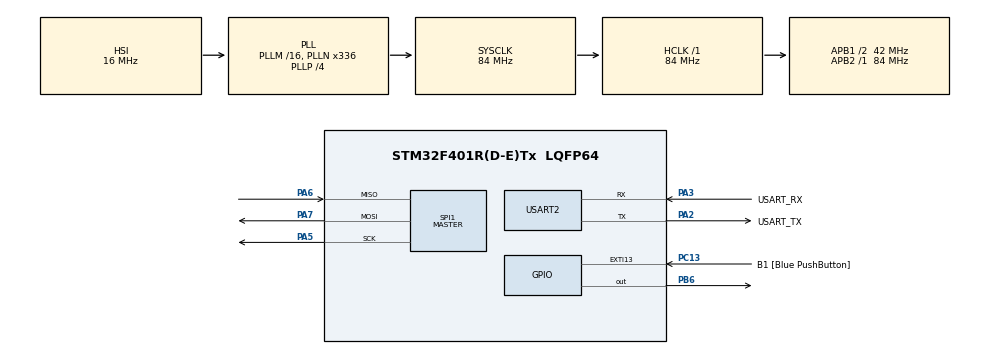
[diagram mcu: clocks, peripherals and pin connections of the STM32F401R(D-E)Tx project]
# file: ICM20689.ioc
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Mcu.Family=STM32F4
Mcu.Name=STM32F401R(D-E)Tx
Mcu.Package=LQFP64
NVIC.PriorityGroup=NVIC_PRIORITYGROUP_0
PA13.GPIO_Label=TMS
PA13.Mode=Serial_Wire
PA13.Signal=SYS_JTMS-SWDIO
PA14.GPIO_Label=TCK
PA14.Mode=Serial_Wire
PA14.Signal=SYS_JTCK-SWCLK
PA2.GPIO_Label=USART_TX
PA2.GPIO_Mode=GPIO_MODE_AF_PP
PA2.GPIO_PuPd=GPIO_NOPULL
PA2.GPIO_Speed=GPIO_SPEED_FREQ_LOW
PA2.Mode=Asynchronous
PA2.Signal=USART2_TX
PA3.GPIO_Label=USART_RX
PA3.GPIO_Mode=GPIO_MODE_AF_PP
PA3.GPIO_PuPd=GPIO_NOPULL
PA3.GPIO_Speed=GPIO_SPEED_FREQ_LOW
PA3.Mode=Asynchronous
PA3.Signal=USART2_RX
PA5.Mode=Full_Duplex_Master
PA5.Signal=SPI1_SCK
PA6.Mode=Full_Duplex_Master
PA6.Signal=SPI1_MISO
PA7.Mode=Full_Duplex_Master
PA7.Signal=SPI1_MOSI
PB3.GPIO_Label=SWO
PB3.Signal=SYS_JTDO-SWO
PB6.Signal=GPIO_Output
PC13-ANTI_TAMP.GPIO_Label=B1 [Blue PushButton]
PC13-ANTI_TAMP.GPIO_ModeDefaultEXTI=GPIO_MODE_IT_FALLING
PC13-ANTI_TAMP.GPIO_PuPd=GPIO_NOPULL
PC13-ANTI_TAMP.Signal=GPXTI13
PC14-OSC32_IN.Mode=LSE-External-Oscillator
PC14-OSC32_IN.Signal=RCC_OSC32_IN
PC15-OSC32_OUT.Mode=LSE-External-Oscillator
PC15-OSC32_OUT.Signal=RCC_OSC32_OUT
PH0\ -\ OSC_IN.Mode=HSE-External-Clock-Source
PH0\ -\ OSC_IN.Signal=RCC_OSC_IN
PH1\ -\ OSC_OUT.Mode=HSE-External-Clock-Source
PH1\ -\ OSC_OUT.Signal=RCC_OSC_OUT
ProjectManager.HeapSize=0x200
ProjectManager.StackSize=0x400
ProjectManager.TargetToolchain=STM32CubeIDE
RCC.48MHZClocksFreq_Value=48000000
RCC.AHBFreq_Value=84000000
RCC.APB1CLKDivider=RCC_HCLK_DIV2
RCC.APB1Freq_Value=42000000
RCC.APB1TimFreq_Value=84000000
RCC.APB2Freq_Value=84000000
RCC.APB2TimFreq_Value=84000000
RCC.CortexFreq_Value=84000000
RCC.HCLKFreq_Value=84000000
RCC.HSE_VALUE=8000000
RCC.HSI_VALUE=16000000
RCC.PLLN=336
RCC.PLLP=RCC_PLLP_DIV4
RCC.PLLQ=7
RCC.SYSCLKFreq_VALUE=84000000
RCC.SYSCLKSource=RCC_SYSCLKSOURCE_PLLCLK
RCC.VCOOutputFreq_Value=336000000
SPI1.BaudRatePrescaler=SPI_BAUDRATEPRESCALER_32
SPI1.Direction=SPI_DIRECTION_2LINES
SPI1.Mode=SPI_MODE_MASTER
SPI1.VirtualType=VM_MASTER
USART2.VirtualMode=VM_ASYNC
board=NUCLEO-F401RE

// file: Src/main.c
/* USER CODE BEGIN Header */
/**
  ******************************************************************************
  * @file           : main.c
  * @brief          : Main program body
  ******************************************************************************
  * @attention
  *
  * <h2><center>&copy; Copyright (c) 2019 STMicroelectronics.
  * All rights reserved.</center></h2>
  *
  * This software component is licensed by ST under BSD 3-Clause license,
  * the "License"; You may not use this file except in compliance with the
  * License. You may obtain a copy of the License at:
  *                        opensource.org/licenses/BSD-3-Clause
  *
  ******************************************************************************
  */
/* USER CODE END Header */

#include "main.h"
#include "stdio.h"

SPI_HandleTypeDef hspi1;

UART_HandleTypeDef huart2;

/* USER CODE BEGIN PV */

#ifdef __GNUC__
#define PUTCHAR_PROTOTYPE int __io_putchar(int ch)
#else
#define PUTCHAR_PROTOTYPE int fputc(int ch, FILE *f)
#endif /* __GNUC__ */

void __io_putchar(uint8_t ch) {
HAL_UART_Transmit(&huart2, &ch, 1, 1);
}

typedef struct{
	float omega_x;
	float omega_y;
	float omega_z;
	float accel_x;
	float accel_y;
	float accel_z;
}GYRO_DATA;

GYRO_DATA gyro_raw;
GYRO_DATA gyro_true;
GYRO_DATA gyro_offset;
uint8_t set_flag;
uint16_t gyro_calib_cnt;
uint8_t gyro_calib_flag;

/* USER CODE END PV */

void SystemClock_Config(void);
static void MX_GPIO_Init(void);
static void MX_USART2_UART_Init(void);
static void MX_SPI1_Init(void);
/* USER CODE BEGIN PFP */
void ICM20689_Init();

/* USER CODE END PFP */

int main(void)
{
  /* USER CODE BEGIN 1 */
	setbuf(stdout, NULL);

  /* USER CODE END 1 */

  /* MCU Configuration--------------------------------------------------------*/

  /* Reset of all peripherals, Initializes the Flash interface and the Systick. */
  HAL_Init();

  /* Configure the system clock */
  SystemClock_Config();

  /* Initialize all configured peripherals */
  MX_GPIO_Init();
  MX_USART2_UART_Init();
  MX_SPI1_Init();
  /* USER CODE BEGIN 2 */
  ICM20689_Init();
  /* USER CODE END 2 */

  /* Infinite loop */
  /* USER CODE BEGIN WHILE */
  while (1)
  {
	  ICM20689_DataUpdate();
	   printf("omegax=%f,y:%f,z=%f\r\n",gyro_raw.omega_x,gyro_raw.omega_y, gyro_raw.omega_z);
	   HAL_Delay(300);
    /* USER CODE END WHILE */

  }
}

void SystemClock_Config(void)
{
  RCC_OscInitTypeDef RCC_OscInitStruct = {0};
  RCC_ClkInitTypeDef RCC_ClkInitStruct = {0};

  /** Configure the main internal regulator output voltage
  */
  __HAL_RCC_PWR_CLK_ENABLE();
  __HAL_PWR_VOLTAGESCALING_CONFIG(PWR_REGULATOR_VOLTAGE_SCALE2);
  /** Initializes the CPU, AHB and APB busses clocks
  */
  RCC_OscInitStruct.OscillatorType = RCC_OSCILLATORTYPE_HSI;
  RCC_OscInitStruct.HSIState = RCC_HSI_ON;
  RCC_OscInitStruct.HSICalibrationValue = RCC_HSICALIBRATION_DEFAULT;
  RCC_OscInitStruct.PLL.PLLState = RCC_PLL_ON;
  RCC_OscInitStruct.PLL.PLLSource = RCC_PLLSOURCE_HSI;
  RCC_OscInitStruct.PLL.PLLM = 16;
  RCC_OscInitStruct.PLL.PLLN = 336;
  RCC_OscInitStruct.PLL.PLLP = RCC_PLLP_DIV4;
  RCC_OscInitStruct.PLL.PLLQ = 7;
  if (HAL_RCC_OscConfig(&RCC_OscInitStruct) != HAL_OK)
  {
    Error_Handler();
  }
  /** Initializes the CPU, AHB and APB busses clocks
  */
  RCC_ClkInitStruct.ClockType = RCC_CLOCKTYPE_HCLK|RCC_CLOCKTYPE_SYSCLK
                              |RCC_CLOCKTYPE_PCLK1|RCC_CLOCKTYPE_PCLK2;
  RCC_ClkInitStruct.SYSCLKSource = RCC_SYSCLKSOURCE_PLLCLK;
  RCC_ClkInitStruct.AHBCLKDivider = RCC_SYSCLK_DIV1;
  RCC_ClkInitStruct.APB1CLKDivider = RCC_HCLK_DIV2;
  RCC_ClkInitStruct.APB2CLKDivider = RCC_HCLK_DIV1;

  if (HAL_RCC_ClockConfig(&RCC_ClkInitStruct, FLASH_LATENCY_2) != HAL_OK)
  {
    Error_Handler();
  }
}

static void MX_SPI1_Init(void)
{

  /* SPI1 parameter configuration*/
  hspi1.Instance = SPI1;
  hspi1.Init.Mode = SPI_MODE_MASTER;
  hspi1.Init.Direction = SPI_DIRECTION_2LINES;
  hspi1.Init.DataSize = SPI_DATASIZE_8BIT;
  hspi1.Init.CLKPolarity = SPI_POLARITY_LOW;
  hspi1.Init.CLKPhase = SPI_PHASE_1EDGE;
  hspi1.Init.NSS = SPI_NSS_SOFT;
  hspi1.Init.BaudRatePrescaler = SPI_BAUDRATEPRESCALER_32;
  hspi1.Init.FirstBit = SPI_FIRSTBIT_MSB;
  hspi1.Init.TIMode = SPI_TIMODE_DISABLE;
  hspi1.Init.CRCCalculation = SPI_CRCCALCULATION_DISABLE;
  hspi1.Init.CRCPolynomial = 10;
  if (HAL_SPI_Init(&hspi1) != HAL_OK)
  {
    Error_Handler();
  }

}

static void MX_USART2_UART_Init(void)
{

  huart2.Instance = USART2;
  huart2.Init.BaudRate = 115200;
  huart2.Init.WordLength = UART_WORDLENGTH_8B;
  huart2.Init.StopBits = UART_STOPBITS_1;
  huart2.Init.Parity = UART_PARITY_NONE;
  huart2.Init.Mode = UART_MODE_TX_RX;
  huart2.Init.HwFlowCtl = UART_HWCONTROL_NONE;
  huart2.Init.OverSampling = UART_OVERSAMPLING_16;
  if (HAL_UART_Init(&huart2) != HAL_OK)
  {
    Error_Handler();
  }

}

static void MX_GPIO_Init(void)
{
  GPIO_InitTypeDef GPIO_InitStruct = {0};

  /* GPIO Ports Clock Enable */
  __HAL_RCC_GPIOC_CLK_ENABLE();
  __HAL_RCC_GPIOH_CLK_ENABLE();
  __HAL_RCC_GPIOA_CLK_ENABLE();
  __HAL_RCC_GPIOB_CLK_ENABLE();

  /*Configure GPIO pin Output Level */
  HAL_GPIO_WritePin(GPIOB, GPIO_PIN_6, GPIO_PIN_RESET);

  /*Configure GPIO pin : B1_Pin */
  GPIO_InitStruct.Pin = B1_Pin;
  GPIO_InitStruct.Mode = GPIO_MODE_IT_FALLING;
  GPIO_InitStruct.Pull = GPIO_NOPULL;
  HAL_GPIO_Init(B1_GPIO_Port, &GPIO_InitStruct);

  /*Configure GPIO pin : PB6 */
  GPIO_InitStruct.Pin = GPIO_PIN_6;
  GPIO_InitStruct.Mode = GPIO_MODE_OUTPUT_PP;
  GPIO_InitStruct.Pull = GPIO_NOPULL;
  GPIO_InitStruct.Speed = GPIO_SPEED_FREQ_LOW;
  HAL_GPIO_Init(GPIOB, &GPIO_InitStruct);

}

/* USER CODE BEGIN 4 */
uint8_t read_byte( uint8_t reg )
{
	uint8_t ret,val;
	HAL_GPIO_WritePin( GPIOB, GPIO_PIN_6, GPIO_PIN_RESET); //cs = 0;
	ret = reg | 0x80;
	HAL_SPI_Transmit(&hspi1, &ret,1,100);
	HAL_SPI_Receive(&hspi1,&val,1,100);
	HAL_GPIO_WritePin(GPIOB, GPIO_PIN_6, GPIO_PIN_SET); //cs = 1;
	return val;
}

//+++++++++++++++++++++++++++++++++++++++++++++++
//write_byte関数
/*SPI Operational Features
1.Data is delivered MSB first and LSB last
2.Data is latched on the rising edge of SCLK
3.Data should be transitioned on the falling edge of SPC
4.The maximum frequency of SPC is 10MHz
5.SPI read and write operations are completed in 16 or more clock cycles(two or more bytes.)
The first byte conains the SPI Adress
The following bytes contain the SPI data
The first bit of the first byte contains the Read/Write bit and indicates the Read(1) or Write(0) operation.
The following 7 bits is the Resister Address.
*/
//+++++++++++++++++++++++++++++++++++++++++++++++

void write_byte( uint8_t reg, uint8_t val )
{
	uint8_t ret;
	ret = reg & 0x7F ;
	HAL_GPIO_WritePin( GPIOB, GPIO_PIN_6, GPIO_PIN_RESET ); //cs = 0;
	HAL_SPI_Transmit( &hspi1, &ret,1,100 );
	HAL_SPI_Transmit( &hspi1, &val,1,100 );
	HAL_GPIO_WritePin( GPIOB, GPIO_PIN_6, GPIO_PIN_SET ); //cs = 1;
}

//+++++++++++++++++++++++++++++++++++++++++++++++
//ICM20602_Init
//+++++++++++++++++++++++++++++++++++++++++++++++

void ICM20689_Init( void )
{
	uint8_t who_am_i = 0;
	who_am_i = read_byte(0x75);	// check WHO_AM_I (0x75)
	printf( "who_am_i = 0x%x\r\n",who_am_i ); 	// Who am I = 0x98

	if (who_am_i != 0x98){	// recheck 0x98
		HAL_Delay(100);
		who_am_i = read_byte(0x98);

		if (who_am_i != 0x98){
			printf( "gyro_error\r\n\n");
			while(1){
				}

		}
	}

 //PWR_MIGHT_1 0x6B
	write_byte( 0x6B, 0x00 );	//Set pwr might
	HAL_Delay(50);
 //PWR_MIGHT_2 0x6C
	write_byte( 0x6C, 0x00 );
	HAL_Delay(50);
 //set gyro config
 //GYRO_CONFIG 0x1B
	write_byte( 0x1B, 0x18 ); // use 2000 dps
	HAL_Delay(50);
 //ACCEL_CONFIG 0x1C
	write_byte( 0x1B, 0x18 ); // use pm 16g
	HAL_Delay(50);

	 set_flag = 1;
}

float ICM20689_GYRO_READ( uint8_t H_reg )
{
	int16_t data = (int16_t)( ((uint8_t)read_byte(H_reg) << 8) | (uint8_t)read_byte(H_reg+1) );
	float omega = (float)(data / 16.4f); //[deg/s] FS_SEL=3-> Scale Factor=16.4[LSB/(dps)]
	return omega;
}

float ICM20689_ACCEL_READ( uint8_t H_reg )
{
	int16_t data = (int16_t)( ((uint8_t)read_byte(H_reg) << 8) | (uint8_t)read_byte(H_reg+1) );
	float accel = (float)(data / 2048.0f);
	return accel;
}

void ICM20689_DataUpdate(void)
{

	if ( set_flag == 1 ){
	// get yawrate
	gyro_raw.omega_x = -1 * ICM20689_GYRO_READ( 0x43 );
	gyro_raw.omega_y = ICM20689_GYRO_READ( 0x45 );
	gyro_raw.omega_z = ICM20689_GYRO_READ( 0x47 );

	// get accel

	gyro_raw.accel_x = -1 * ICM20689_ACCEL_READ( 0x3B );
	gyro_raw.accel_y = ICM20689_ACCEL_READ( 0x3D );
	gyro_raw.accel_z = ICM20689_ACCEL_READ( 0x3F );

	//True Value(Consider Offset)
	gyro_true.omega_x = gyro_raw.omega_x - gyro_offset.omega_x;
	gyro_true.omega_y = gyro_raw.omega_y - gyro_offset.omega_y;
	gyro_true.omega_z = gyro_raw.omega_z - gyro_offset.omega_z;
	gyro_true.accel_x = gyro_raw.accel_x - gyro_offset.accel_x;
	gyro_true.accel_y = gyro_raw.accel_y - gyro_offset.accel_y;
	gyro_true.accel_z = gyro_raw.accel_z - gyro_offset.accel_z;

	}
}
/* USER CODE END 4 */

void Error_Handler(void)
{
}

/************************ (C) COPYRIGHT STMicroelectronics *****END OF FILE****/
